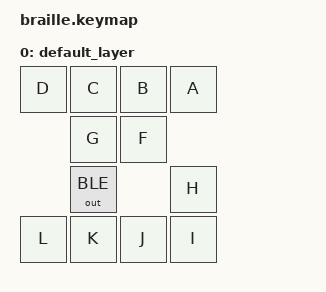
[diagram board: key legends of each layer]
#include <behaviors.dtsi>
#include <dt-bindings/zmk/keys.h>
#include <dt-bindings/zmk/outputs.h>


/ {
    keymap {
        compatible = "zmk,keymap";

        default_layer {
            bindings = <

//    &kp A           &kp B   &kp C   &kp D
//    &out OUT_BLE    &kp F   &kp G   &kp H
//    &kp I           &kp J   &kp K   &kp L

    &kp D           &kp C   &kp B   &kp A
                    &kp G   &kp F
                    &out OUT_BLE   &kp H
    &kp L           &kp K   &kp J   &kp I
            >;
        };
    };
};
